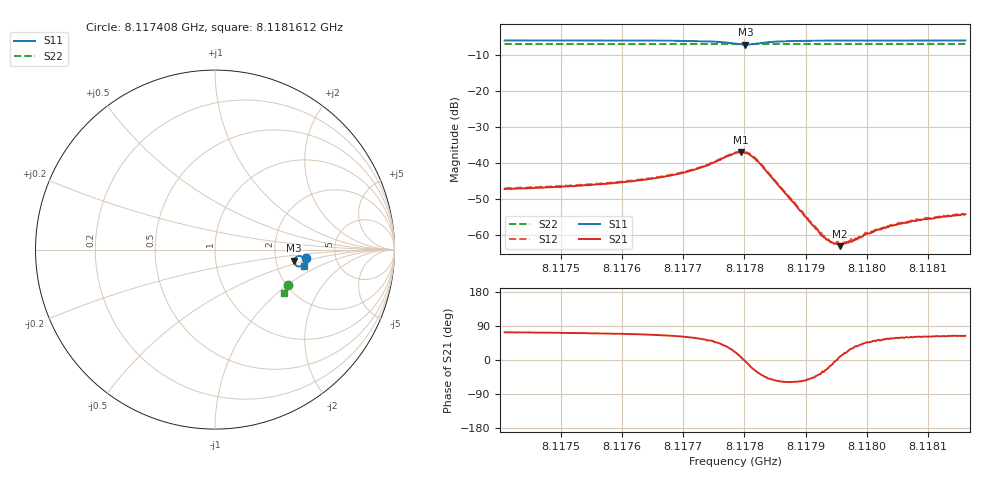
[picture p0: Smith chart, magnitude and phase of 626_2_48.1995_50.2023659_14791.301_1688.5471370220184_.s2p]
#  HZ  S  RI  R  50.00
! Rohde & Schwarz Vector Network Analyzer
! Rohde-Schwarz,ZNB20-2Port,1311601062101988,3.16
! Created: UTC 3/20/2024, 12:04:07 PM
! freq[Hz]  re:S11  im:S11  re:S21  im:S21  re:S12  im:S12  re:S22  im:S22
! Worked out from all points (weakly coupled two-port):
!   401 points, 8.117408 GHz to 8.1181612 GHz, reference 50 ohm
!   highest |S21| = -36.96 dB at 8.117794 GHz (marker M1); lowest = -63.1 dB at 8.117956 GHz (marker M2)
!   lowest |S11| = -7.0 dB at 8.1178016 GHz (marker M3), VSWR 2.60, Z = 126 - j19.5 ohm
!   |S11| at or under -10 dB: nowhere
!   |S22| runs from -6.9 to -6.8 dB; largest |S21 - S12| = 0.00047
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8.11740801e9  0.5048 -0.0467  0.00125 0.00416  0.0013 0.00424  0.4082 -0.1954
8.11753418e9  0.5029 -0.0586  0.00159 0.00459  0.00167 0.00464  0.4045 -0.2035
8.11760385e9  0.501 -0.066  0.00197 0.00507  0.002 0.00516  0.4024 -0.2081
8.11766034e9  0.4983 -0.0738  0.00257 0.00571  0.00267 0.00582  0.4005 -0.2118
8.1177206e9  0.4905 -0.0852  0.00437 0.00693  0.00449 0.00708  0.3982 -0.2157
8.11773943e9  0.4847 -0.0898  0.0058 0.00723  0.00578 0.00755  0.3975 -0.217
8.11778462e9  0.4495 -0.0867  0.0128 0.00493  0.013 0.00501  0.3945 -0.219
8.11779404e9  0.4414 -0.0747  0.0141 0.00197  0.0143 0.002  0.394 -0.219
8.11780157e9  0.4401 -0.0618  0.0137 -0.000875  0.0141 -0.000977  0.3941 -0.2189
8.11781287e9  0.4482 -0.0445  0.0114 -0.00458  0.0118 -0.00465  0.3941 -0.2188
8.11782605e9  0.465 -0.0361  0.00769 -0.00589  0.00784 -0.00605  0.3947 -0.2195
8.11785995e9  0.4902 -0.0446  0.00243 -0.00367  0.0025 -0.00382  0.3946 -0.2222
8.11791079e9  0.4987 -0.0597  0.000943 -0.001  0.000967 -0.00106  0.3931 -0.2259
8.11792585e9  0.4992 -0.0629  0.000811 -0.000542  0.00088 -0.000592  0.3928 -0.2269
8.11793715e9  0.4997 -0.065  0.000793 -0.000302  0.000806 -0.000323  0.3925 -0.2275
8.11794469e9  0.4998 -0.0662  0.000765 -0.000138  0.000746 -0.000128  0.3923 -0.2283
8.11795598e9  0.4999 -0.0682  0.000688 0.000106  0.000736 0.000105  0.3918 -0.2289
8.11798046e9  0.5001 -0.0717  0.000691 0.000482  0.000717 0.000512  0.3909 -0.2307
8.11799741e9  0.5 -0.074  0.000722 0.000716  0.000781 0.000737  0.3904 -0.2316
8.11803696e9  0.4998 -0.0786  0.000749 0.00108  0.000736 0.00111  0.3891 -0.2341
8.11809721e9  0.499 -0.0848  0.000778 0.00146  0.000821 0.00153  0.387 -0.238
8.11816124e9  0.4982 -0.0907  0.000854 0.00174  0.000856 0.00177  0.3848 -0.2419
